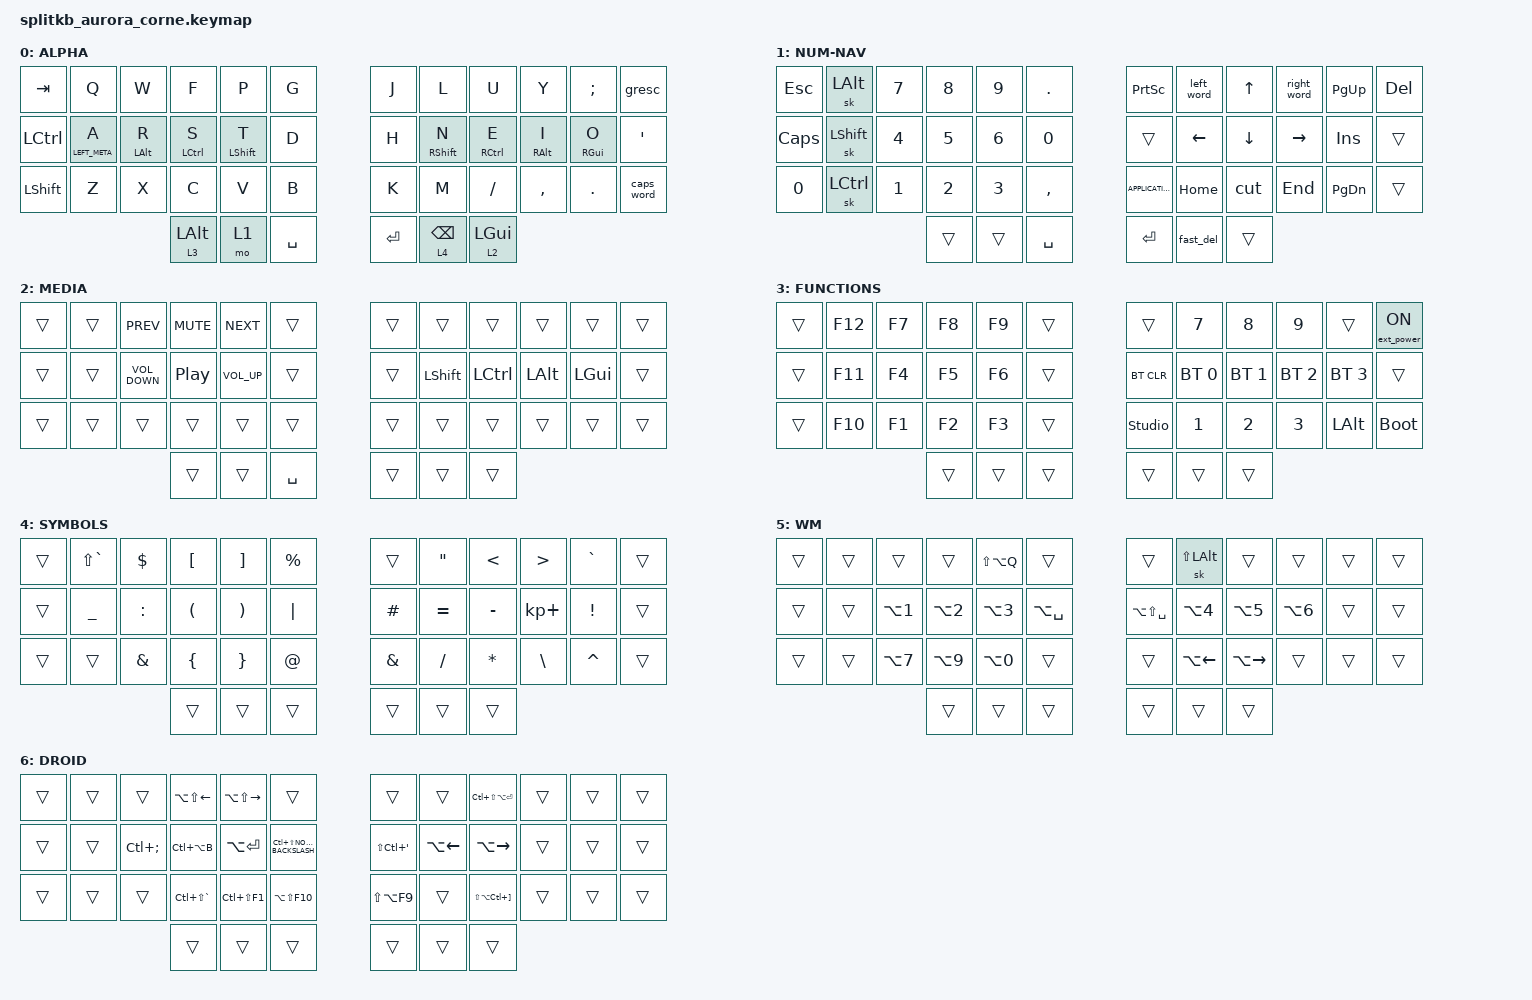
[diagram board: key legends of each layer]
/*
 * Copyright (c) 2020 The ZMK Contributors
 *
 * SPDX-License-Identifier: MIT
 */

#include <behaviors.dtsi>
#include <dt-bindings/zmk/bt.h>
#include <dt-bindings/zmk/ext_power.h>
#include <dt-bindings/zmk/keys.h>

/ {
    behaviors {
        hml: homerow_mods_left {
            compatible = "zmk,behavior-hold-tap";
            label = "HOMEROW_MODS_LEFT_HAND";
            bindings = <&kp>, <&kp>;

            #binding-cells = <2>;
            tapping-term-ms = <280>;
            hold-trigger-key-positions = <6 18 30 39 40 7 8 9 10 11 19 20 21 22 23 31 32 33 34 35 41>;
            quick-tap-ms = <175>;
            require-prior-idle-ms = <150>;
            flavor = "tap-preferred";
        };

        hmr: homerow_mods_right {
            compatible = "zmk,behavior-hold-tap";
            label = "HOMEROW_MODS_RIGHT_HAND";
            bindings = <&kp>, <&kp>;

            #binding-cells = <2>;
            tapping-term-ms = <280>;
            hold-trigger-key-positions = <0 1 2 3 4 5 12 13 14 15 16 17 24 25 26 27 28 29 36 37 38>;
            quick-tap-ms = <175>;
            require-prior-idle-ms = <150>;
            flavor = "tap-preferred";
        };

        caps_word: caps_word {
            compatible = "zmk,behavior-caps-word";
            label = "CAPS_WORD";
            #binding-cells = <0>;
            continue-list = <MINUS UNDERSCORE DELETE BACKSPACE>;
        };

        ht: ht {
            compatible = "zmk,behavior-hold-tap";
            label = "HT";
            bindings = <&kp>, <&kp>;

            #binding-cells = <2>;
            tapping-term-ms = <200>;
            quick-tap-ms = <100>;
        };

        sk_: sk_ {
            compatible = "zmk,behavior-sticky-key";
            label = "SK_";
            bindings = <&kp>;
            #binding-cells = <1>;
            release-after-ms = <1000>;
        };

        td_caps: td_caps {
            compatible = "zmk,behavior-tap-dance";
            label = "TD_CAPS";
            #binding-cells = <0>;
            bindings = <&kp LSHFT>, <&caps_word>;

            tapping-term-ms = <200>;
        };
    };

    combos {
        compatible = "zmk,combos";

        com_semi {
            bindings = <&kp SEMI>;
            key-positions = <34 35>;
            layers = <0>;
        };

        Copy {
            bindings = <&kp LC(INSERT)>;
            key-positions = <3 2 4>;
            layers = <0>;
        };

        Paste {
            bindings = <&kp LS(INS)>;
            key-positions = <14 15 16>;
            layers = <0>;
        };

        Cut {
            bindings = <&kp LS(DELETE)>;
            key-positions = <26 28 27>;
            layers = <0>;
        };

        prog-less {
            bindings = <&kp LT>;
            key-positions = <32 19>;
            layers = <0>;
        };

        prog-equals {
            bindings = <&kp EQUAL>;
            key-positions = <19 21 20>;
            layers = <0>;
        };

        prog-colon {
            bindings = <&kp COLON>;
            key-positions = <7 8 9>;
            layers = <0>;
        };

        huh {
            bindings = <&kp LS(SLASH)>;
            key-positions = <14 15 4>;
        };

        chin {
            bindings = <&kp LS(NUMBER_1)>;
            key-positions = <25 26 15>;
        };

        minus {
            bindings = <&kp MINUS>;
            key-positions = <19 18>;
        };

        under {
            bindings = <&kp UNDER>;
            key-positions = <31 30>;
        };

        accent {
            bindings = <&kp SINGLE_QUOTE>;
            key-positions = <16 20>;
        };

        ae {
            bindings = <&kp RA(Q)>;
            key-positions = <13 14>;
        };

        ue {
            bindings = <&kp RA(Y)>;
            key-positions = <8 9>;
        };

        oe {
            bindings = <&kp RA(P)>;
            key-positions = <4 5>;
        };
    };

    macros {
        cut: cut {
            compatible = "zmk,behavior-macro";
            #binding-cells = <0>;
            bindings = <&kp LS(DEL)>;
            label = "CUT";
        };

        copy: copy {
            compatible = "zmk,behavior-macro";
            #binding-cells = <0>;
            bindings = <&kp LC(INS)>;
            label = "COPY";
        };

        paste: paste {
            compatible = "zmk,behavior-macro";
            #binding-cells = <0>;
            bindings = <&kp LS(INS)>;
            label = "PASTE";
        };

        enie_mac: enie_mac {
            compatible = "zmk,behavior-macro";
            #binding-cells = <0>;
            bindings = <&kp LA(N) &kp N &kp N>;
            label = "ENIE_MAC";
        };

        left_word: left_word {
            compatible = "zmk,behavior-macro";
            #binding-cells = <0>;
            bindings = <&kp LC(LEFT)>;
            label = "LEFT_WORD";
        };

        right_word: right_word {
            compatible = "zmk,behavior-macro";
            #binding-cells = <0>;
            bindings = <&kp LC(RIGHT)>;
            label = "RIGHT_WORD";
        };

        fast_del: fast_del {
            compatible = "zmk,behavior-macro";
            #binding-cells = <0>;
            bindings = <&kp LC(BACKSPACE)>;
            label = "FAST_DEL";
        };
    };

    keymap {
        compatible = "zmk,keymap";

        alpha {
            display-name = "ALPHA";

            // -----------------------------------------------------------------------------------------
            // |  TAB |  Q  |  W  |  E  |  R  |  T  |   |  Y  |  U   |  I  |  O  |  P  | BKSP |
            // | CTRL |  A  |  S  |  D  |  F  |  G  |   |  H  |  J   |  K  |  L  |  ;  |  '   |
            // | SHFT |  Z  |  X  |  C  |  V  |  B  |   |  N  |  M   |  ,  |  .  |  /  | ESC  |
            //                    | GUI | LWR | SPC |   | ENT | RSE  | ALT |

            bindings = <
&kp TAB    &kp Q             &kp W        &kp F                &kp P              &kp G        &kp J      &kp L               &kp U                 &kp Y             &kp SEMICOLON     &gresc
&kp LCTRL  &hml LEFT_META A  &hml LALT R  &hml LEFT_CONTROL S  &hml LEFT_SHIFT T  &kp D        &kp H      &hmr RIGHT_SHIFT N  &hmr RIGHT_CONTROL E  &hmr RIGHT_ALT I  &hmr RIGHT_GUI O  &kp SQT
&kp LSHFT  &kp Z             &kp X        &kp C                &kp V              &kp B        &kp K      &kp M               &kp SLASH             &kp COMMA         &kp PERIOD        &caps_word
                                          &lt 3 LEFT_ALT       &mo 1              &kp SPACE    &kp ENTER  &lt 4 BACKSPACE     &lt 2 LEFT_GUI
            >;
        };

        num-nav {
            display-name = "NUM-NAV";

            // -----------------------------------------------------------------------------------------
            // |  TAB |  1  |  2  |  3  |  4  |  5  |   |  6  |  7  |  8  |  9  |  0  | BKSP |
            // | BTCLR| BT1 | BT2 | BT3 | BT4 | BT5 |   | LFT | DWN |  UP | RGT |     |      |
            // | SHFT |     |     |     |     |     |   |     |     |     |     |     |      |
            //                    | GUI |     | SPC |   | ENT |     | ALT |

            bindings = <
&kp ESCAPE  &sk LEFT_ALT    &kp N7        &kp N8        &kp N9        &kp PERIOD    &kp PSCRN          &left_word      &kp UP    &right_word  &kp PAGE_UP    &kp DELETE
&kp CAPS    &sk LEFT_SHIFT  &kp NUMBER_4  &kp N5        &kp NUMBER_6  &kp N0        &trans             &kp LEFT_ARROW  &kp DOWN  &kp RIGHT    &kp INS        &trans
&kp N0      &sk LCTRL       &kp NUMBER_1  &kp NUMBER_2  &kp NUMBER_3  &kp COMMA     &kp K_APPLICATION  &kp HOME        &cut      &kp END      &kp PAGE_DOWN  &trans
                                          &trans        &trans        &kp SPACE     &kp RET            &fast_del       &trans
            >;
        };

        media {
            display-name = "MEDIA";

            // -----------------------------------------------------------------------------------------
            // |  TAB |  !  |  @  |  #  |  $  |  %  |   |  ^  |  &  |  *  |  (  |  )  | BKSP |
            // | CTRL |     |     |     |     |     |   |  -  |  =  |  [  |  ]  |  \  |  `   |
            // | SHFT |     |     |     |     |     |   |  _  |  +  |  {  |  }  | "|" |  ~   |
            //                    | GUI |     | SPC |   | ENT |     | ALT |

            bindings = <
&trans  &trans  &kp C_PREV         &kp C_MUTE        &kp C_NEXT       &trans       &trans  &trans          &trans            &trans        &trans        &trans
&trans  &trans  &kp C_VOLUME_DOWN  &kp C_PLAY_PAUSE  &kp C_VOLUME_UP  &trans       &trans  &kp LEFT_SHIFT  &kp LEFT_CONTROL  &kp LEFT_ALT  &kp LEFT_GUI  &trans
&trans  &trans  &trans             &trans            &trans           &trans       &trans  &trans          &trans            &trans        &trans        &trans
                                   &trans            &trans           &kp SPACE    &trans  &trans          &trans
            >;
        };

        fun {
            display-name = "FUNCTIONS";
            bindings = <
&trans  &kp F12  &kp F7  &kp F8  &kp F9  &trans    &trans          &kp N7        &kp N8        &kp N9        &trans        &ext_power EP_ON
&trans  &kp F11  &kp F4  &kp F5  &kp F6  &trans    &bt BT_CLR      &bt BT_SEL 0  &bt BT_SEL 1  &bt BT_SEL 2  &bt BT_SEL 3  &trans
&trans  &kp F10  &kp F1  &kp F2  &kp F3  &trans    &studio_unlock  &kp NUMBER_1  &kp NUMBER_2  &kp NUMBER_3  &kp LEFT_ALT  &bootloader
                         &trans  &trans  &trans    &trans          &trans        &trans
            >;

            label = "FUNCTION";
        };

        sym {
            display-name = "SYMBOLS";
            bindings = <
&trans  &kp LS(GRAVE)  &kp DOLLAR     &kp LEFT_BRACKET      &kp RIGHT_BRACKET      &kp PERCENT    &trans    &kp DOUBLE_QUOTES  &kp LESS_THAN  &kp GREATER_THAN  &kp GRAVE        &trans
&trans  &kp UNDER      &kp COLON      &kp LEFT_PARENTHESIS  &kp RIGHT_PARENTHESIS  &kp PIPE       &kp HASH  &kp EQUAL          &kp MINUS      &kp KP_PLUS       &kp EXCLAMATION  &trans
&trans  &trans         &kp AMPERSAND  &kp LEFT_BRACE        &kp RIGHT_BRACE        &kp AT_SIGN    &kp AMPS  &kp SLASH          &kp ASTERISK   &kp BACKSLASH     &kp CARET        &trans
                                      &trans                &trans                 &trans         &trans    &trans             &trans
            >;
        };

        wm {
            bindings = <
&trans  &trans  &trans            &trans            &kp LS(LA(Q))     &trans           &trans             &sk LS(LEFT_ALT)    &trans         &trans            &trans  &trans
&trans  &trans  &kp LA(NUMBER_1)  &kp LA(NUMBER_2)  &kp LA(NUMBER_3)  &kp LA(SPACE)    &kp LA(LS(SPACE))  &kp LA(NUMBER_4)    &kp LA(N5)     &kp LA(NUMBER_6)  &trans  &trans
&trans  &trans  &kp LA(N7)        &kp LA(N9)        &kp LA(N0)        &trans           &trans             &kp LA(LEFT_ARROW)  &kp LA(RIGHT)  &trans            &trans  &trans
                                  &trans            &trans            &trans           &trans             &trans              &trans
            >;

            label = "WM";
        };

        android {
            bindings = <
&trans  &trans  &trans             &kp LA(LS(LEFT_ARROW))  &kp LA(LS(RIGHT))  &trans                          &trans           &trans        &kp LC(LS(LA(ENTER)))          &trans  &trans  &trans
&trans  &trans  &kp LC(SEMICOLON)  &kp LC(LA(B))           &kp LA(ENTER)      &kp LC(LS(NON_US_BACKSLASH))    &kp LS(LC(SQT))  &kp LA(LEFT)  &kp LA(RIGHT)                  &trans  &trans  &trans
&trans  &trans  &trans             &kp LC(LS(GRAVE))       &kp LC(LS(F1))     &kp LA(LS(F10))                 &kp LS(LA(F9))   &trans        &kp LS(LA(LC(RIGHT_BRACKET)))  &trans  &trans  &trans
                                   &trans                  &trans             &trans                          &trans           &trans        &trans
            >;

            label = "DROID";
        };
    };

    conditional_layers {
        compatible = "zmk,conditional-layers";

        glaze-wm {
            if-layers = <2 3>;
            then-layer = <5>;
        };

        android-shortcuts {
            if-layers = <1 4>;
            then-layer = <6>;
        };
    };
};
